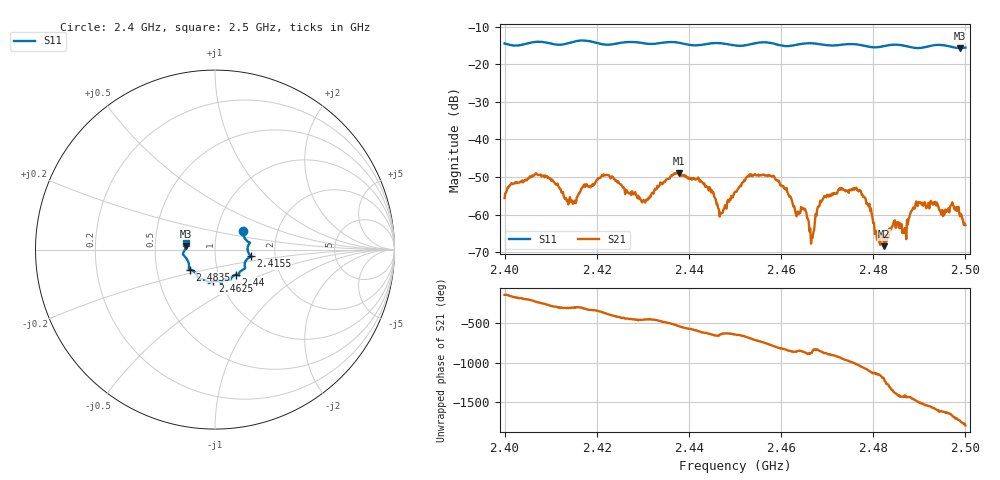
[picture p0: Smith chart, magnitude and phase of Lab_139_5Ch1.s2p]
# Hz S RI R 50
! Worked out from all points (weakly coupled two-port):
!   601 points, 2.4 GHz to 2.5 GHz, reference 50 ohm
!   highest |S21| = -48.93 dB at 2.4378 GHz (marker M1); lowest = -68.4 dB at 2.4823 GHz (marker M2)
!   lowest |S11| = -15.7 dB at 2.4988 GHz (marker M3), VSWR 1.39, Z = 36 + j1.39 ohm
!   |S11| at or under -10 dB: start of sweep to end of sweep
!   S12 and S22 are empty: the file has one direction only
!   S11 on the Smith chart (normalised r, x): 2.4 GHz: 1.33, +0.29; 2.4155 GHz: 1.49, -0.11; 2.44 GHz: 1.21, -0.35; 2.4625 GHz: 0.92, -0.34; 2.4835 GHz: 0.74, -0.17; 2.5 GHz: 0.72, +0.06
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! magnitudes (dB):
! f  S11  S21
! 2.4 GHz  -14.5  -55.6
! 2.4072 GHz  -14.0  -49.4
! 2.4155 GHz  -13.9  -56.9
! 2.4167 GHz  -13.7  -53.1
! 2.422 GHz  -14.8  -49.5
! 2.4302 GHz  -14.4  -56.1
! 2.4333 GHz  -14.4  -52.7
! 2.4378 GHz  -14.3  -48.9
! 2.44 GHz  -14.8  -50.1
! 2.4468 GHz  -14.4  -59.5
! 2.45 GHz  -15.0  -53.9
! 2.4578 GHz  -14.4  -49.8
! 2.4625 GHz  -15.0  -57.1
! 2.4667 GHz  -14.4  -65.7
! 2.469 GHz  -14.8  -56.1
! 2.476 GHz  -14.7  -52.9
! 2.4823 GHz  -15.2  -68.4
! 2.4833 GHz  -15.0  -66.1
! 2.4835 GHz  -14.9  -63.7
! 2.4898 GHz  -15.7  -56.7
! 2.4988 GHz  -15.7  -60.5
! 2.5 GHz  -15.6  -62.8
